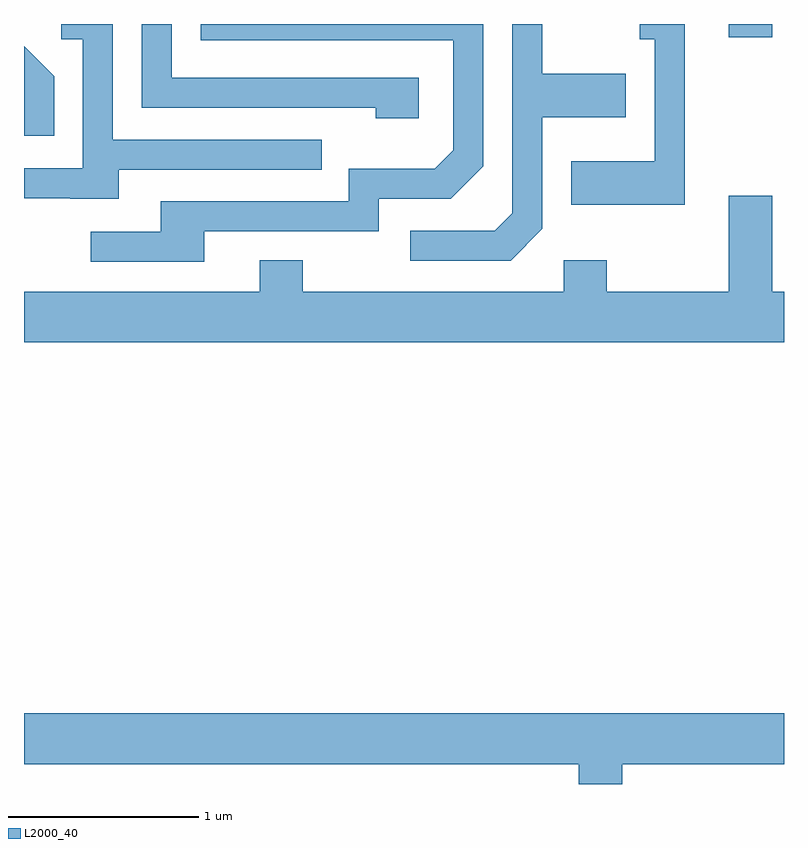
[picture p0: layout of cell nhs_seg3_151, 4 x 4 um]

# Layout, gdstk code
import gdstk
lib = gdstk.Library(unit=1e-6, precision=1e-09)
def R(c, l, rs):  # rectangles x0, y0, x1, y1
    for r in rs: c.add(gdstk.rectangle(r[:2], r[2:], *l))
def P(c, l, *ps):  # polygons
    for p in ps: c.add(gdstk.Polygon(p, *l))
L2000_40 = (2000, 40)

nhs_seg3_151 = lib.new_cell('nhs_seg3_151')
R(nhs_seg3_151, L2000_40, [(193.321,1149.821,193.549,1149.892)])
P(nhs_seg3_151, L2000_40, [(191.689,1149.609),(190.389,1149.609),(190.389,1149.892),(190.231,1149.892),(190.231,1149.451),(191.461,1149.451),(191.461,1149.396),(191.689,1149.396)],
  [(192.339,1148.814),(192.339,1149.401),(192.779,1149.401),(192.779,1149.629),(192.339,1149.629),(192.339,1149.892),(192.181,1149.892),(192.181,1148.897),(192.089,1148.804),(191.643,1148.804),(191.643,1148.646),(192.172,1148.646)],
  [(190.559,1148.801),(191.479,1148.801),(191.479,1148.971),(191.857,1148.971),(192.029,1149.144),(192.029,1149.892),(190.541,1149.892),(190.541,1149.806),(191.871,1149.806),(191.871,1149.227),(191.774,1149.129),(191.321,1149.129),(191.321,1148.959),(190.331,1148.959),(190.331,1148.799),(189.963,1148.799),(189.963,1148.641),(190.559,1148.641)],
  [(193.089,1149.892),(192.853,1149.892),(192.853,1149.811),(192.931,1149.811),(192.931,1149.169),(192.491,1149.169),(192.491,1148.941),(193.089,1148.941)],
  [(190.109,1149.126),(191.178,1149.126),(191.178,1149.284),(190.079,1149.284),(190.079,1149.892),(189.808,1149.892),(189.808,1149.811),(189.921,1149.811),(189.921,1149.134),(189.611,1149.134),(189.611,1148.976),(189.855,1148.976),(189.855,1148.971),(190.109,1148.971)],
  [(189.769,1149.617),(189.611,1149.775),(189.611,1149.303),(189.769,1149.303)],
  [(193.611,1148.484),(193.549,1148.484),(193.549,1148.989),(193.321,1148.989),(193.321,1148.484),(192.679,1148.484),(192.679,1148.649),(192.451,1148.649),(192.451,1148.484),(191.079,1148.484),(191.079,1148.649),(190.851,1148.649),(190.851,1148.484),(189.611,1148.484),(189.611,1148.216),(193.611,1148.216)],
  [(192.759,1145.996),(193.611,1145.996),(193.611,1146.264),(189.611,1146.264),(189.611,1145.996),(192.531,1145.996),(192.531,1145.892),(192.759,1145.892)])

lib.write_gds('nhs_seg3_151.gds')
